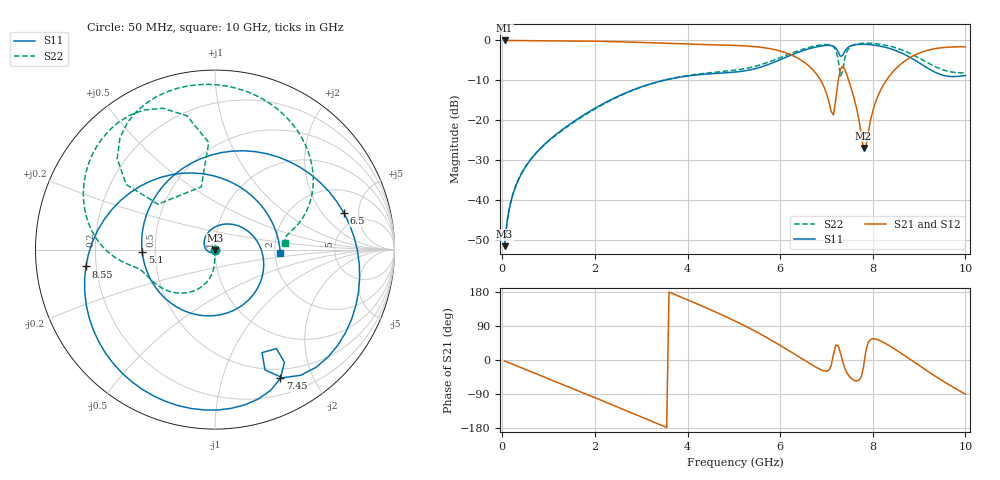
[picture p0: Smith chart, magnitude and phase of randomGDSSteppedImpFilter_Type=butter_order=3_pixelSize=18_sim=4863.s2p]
! freq	dB(S11)	phase(S11)	dB(S12)	phase(S12)
!  dB(S21)	phase(S21)	dB(S22)	phase(S22)
!S-par simulation data
#  GHz  S  DB  R 50
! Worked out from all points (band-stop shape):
!   200 points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, 50 MHz to 10 GHz, reference 50 ohm
!   highest |S21| = -0.01 dB at 50 MHz (marker M1); lowest = -27.0 dB at 7.8 GHz (marker M2)
!   |S21| within 3 dB of the highest: start of sweep to 6.097 GHz; 9.039 GHz to end of sweep
!   lowest |S11| = -51.5 dB at 50 MHz (marker M3), VSWR 1.01, Z = 50 - j0.265 ohm
!   |S11| at or under -10 dB: start of sweep to 3.487 GHz
!   |S22| runs from -51.3 to -0.7 dB; largest |S21 - S12| = 0
!   S11 on the Smith chart (normalised r, x): 50 MHz: 1.00, -0.01; 5.1 GHz: 0.42, -0.01; 6.5 GHz: 3.67, +3.37; 7.45 GHz: 0.38, -1.56; 8.55 GHz: 0.16, -0.06; 10 GHz: 2.14, -0.08
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0.05  -51.53 -86.9  -0.01 -2.5  -0.01 -2.5  -51.30 -82.6
0.2  -39.76 -108.4  -0.02 -9.9  -0.02 -9.9  -39.61 -88.4
0.45  -32.65 -134.8  -0.03 -22.3  -0.03 -22.3  -32.53 -90.2
1.75  -18.75 99.4  -0.16 -86.8  -0.16 -86.8  -18.94 -94.6
2.5  -13.99 35.9  -0.32 -124.7  -0.32 -124.7  -14.11 -106.0
3.4  -10.25 -33.0  -0.66 -170.4  -0.66 -170.4  -10.25 -127.9
4.3  -8.52 -102.4  -1.01 143.1  -1.01 143.1  -8.33 -150.6
5.05  -7.89 -172.6  -1.27 101.5  -1.27 101.5  -7.41 -164.1
5.1  -7.83 -178.0  -1.29 98.5  -1.29 98.5  -7.33 -164.8
5.5  -6.96 135.3  -1.61 73.4  -1.61 73.4  -6.36 -169.7
5.95  -5.07 79.7  -2.49 42.2  -2.49 42.2  -4.53 -178.5
6.5  -2.54 15.8  -5.32 1.1  -5.32 1.1  -2.17 159.9
6.7  -1.85 -5.8  -7.29 -13.7  -7.29 -13.7  -1.53 148.9
7.15  -1.44 -55.7  -18.67 14.3  -18.67 14.3  -1.52 110.3
7.25  -2.78 -67.4  -10.33 38.1  -10.33 38.1  -4.47 93.3
7.35  -3.75 -58.2  -6.44 -4.0  -6.44 -4.0  -7.83 141.5
7.45  -1.89 -63.0  -8.95 -35.6  -8.95 -35.6  -2.56 137.0
7.8  -0.96 -98.6  -26.95 -18.5  -26.95 -18.5  -0.70 103.1
8.35  -1.97 -151.5  -9.05 38.3  -9.05 38.3  -1.37 65.4
8.55  -2.79 -172.6  -6.50 22.9  -6.50 22.9  -2.04 52.5
9.15  -6.69 113.3  -2.58 -26.9  -2.58 -26.9  -5.37 21.6
10  -8.78 -2.7  -1.60 -89.9  -1.60 -89.9  -8.08 5.0
